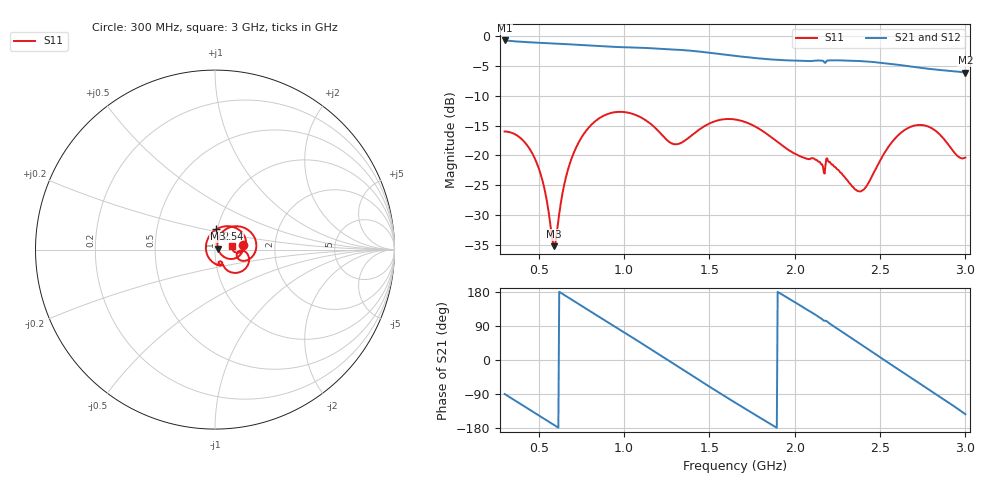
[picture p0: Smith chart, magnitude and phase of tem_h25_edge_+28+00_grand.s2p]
! tem_h25_edge_+28+00_grand
! simulated by sim/fixtures_fdtd.py (S12 = S21, S22 not computed)
# HZ S RI R 50
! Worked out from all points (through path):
!   541 points, 300 MHz to 3 GHz, reference 50 ohm
!   highest |S21| = -0.70 dB at 300 MHz (marker M1); lowest = -6.1 dB at 3 GHz (marker M2)
!   group delay of S21, straight-line fit = 789 ps
!   lowest |S11| = -35.2 dB at 590 MHz (marker M3), VSWR 1.04, Z = 51.7 + j0.486 ohm
!   |S11| at or under -10 dB: start of sweep to end of sweep
!   |S22| runs from - to - dB; largest |S21 - S12| = 0
!   S11 on the Smith chart (normalised r, x): 300 MHz: 1.37, +0.07; 2.54 GHz: 0.99, +0.23; 3 GHz: 1.21, +0.05
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3e8  0.1567 0.0257  0.00425 -0.9229  0.00425 -0.9229  0 0
4.8e8  0.0767 -0.0512  -0.6828 -0.5637  -0.6828 -0.5637  0 0
5.3e8  0.0426 -0.0351  -0.7932 -0.3773  -0.7932 -0.3773  0 0
5.9e8  0.0167 0.0047  -0.8606 -0.1279  -0.8606 -0.1279  0 0
6.65e8  0.0208 0.0674  -0.8374 0.1907  -0.8374 0.1907  0 0
7.5e8  0.0735 0.1205  -0.6753 0.507  -0.6753 0.507  0 0
8.6e8  0.1709 0.1177  -0.3125 0.7643  -0.3125 0.7643  0 0
9.7e8  0.2278 0.045  0.1198 0.8032  0.1198 0.8032  0 0
1.075e9  0.2143 -0.0309  0.4958 0.6321  0.4958 0.6321  0 0
1.2e9  0.1485 -0.0618  0.7568 0.2174  0.7568 0.2174  0 0
1.32e9  0.1237 -0.019  0.7315 -0.2413  0.7315 -0.2413  0 0
1.45e9  0.1681 -0.0113  0.4158 -0.6144  0.4158 -0.6144  0 0
1.545e9  0.1897 -0.0498  0.0879 -0.7093  0.0879 -0.7093  0 0
1.65e9  0.1723 -0.1025  -0.2593 -0.6346  -0.2593 -0.6346  0 0
1.87e9  0.0731 -0.119  -0.6324 -0.0871  -0.6324 -0.0871  0 0
2.1e9  0.0416 -0.0851  -0.3595 0.5053  -0.3595 0.5053  0 0
2.3e9  -0.0253 -0.0584  0.2389 0.5791  0.2389 0.5791  0 0
2.4e9  -0.0508 0.0063  0.4895 0.3764  0.4895 0.3764  0 0
2.54e9  0.007 0.1128  0.5904 -0.0486  0.5904 -0.0486  0 0
2.55e9  0.0155 0.1177  0.585 -0.0792  0.585 -0.0792  0 0
2.78e9  0.1724 0.0317  0.1291 -0.5185  0.1291 -0.5185  0 0
3e9  0.0938 0.0205  -0.3965 -0.2979  -0.3965 -0.2979  0 0
